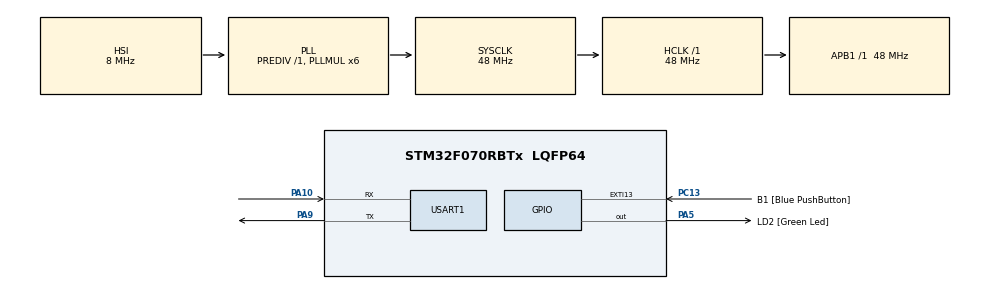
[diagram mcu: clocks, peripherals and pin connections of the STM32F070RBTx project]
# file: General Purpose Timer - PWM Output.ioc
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Mcu.Family=STM32F0
Mcu.Name=STM32F070RBTx
Mcu.Package=LQFP64
PA10.Mode=Asynchronous
PA10.Signal=USART1_RX
PA13.GPIO_Label=TMS
PA13.Signal=SYS_SWDIO
PA2.GPIO_Label=USART_TX
PA2.Signal=USART2_TX
PA3.GPIO_Label=USART_RX
PA3.Signal=USART2_RX
PA5.GPIO_Label=LD2 [Green Led]
PA5.Signal=GPIO_Output
PA9.Mode=Asynchronous
PA9.Signal=USART1_TX
PC13.GPIO_Label=B1 [Blue PushButton]
PC13.GPIO_ModeDefaultEXTI=GPIO_MODE_IT_FALLING
PC13.Signal=GPXTI13
PC14-OSC32_IN.GPIO_Label=RCC_OSC32_IN
PC14-OSC32_IN.Signal=RCC_OSC32_IN
PC15-OSC32_OUT.GPIO_Label=RCC_OSC32_OUT
PC15-OSC32_OUT.Signal=RCC_OSC32_OUT
PF0-OSC_IN.GPIO_Label=RCC_OSC_IN
PF0-OSC_IN.Signal=RCC_OSC_IN
PF1-OSC_OUT.GPIO_Label=RCC_OSC_OUT
PF1-OSC_OUT.Signal=RCC_OSC_OUT
ProjectManager.HeapSize=0x200
ProjectManager.StackSize=0x400
ProjectManager.TargetToolchain=STM32CubeIDE
RCC.AHBFreq_Value=48000000
RCC.APB1Freq_Value=48000000
RCC.APB1TimFreq_Value=48000000
RCC.HCLKFreq_Value=48000000
RCC.PLLMUL=RCC_PLL_MUL6
RCC.SYSCLKFreq_VALUE=48000000
RCC.SYSCLKSource=RCC_SYSCLKSOURCE_PLLCLK
USART1.VirtualMode-Asynchronous=VM_ASYNC
board=NUCLEO-F070RB

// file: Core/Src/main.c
/* USER CODE BEGIN Header */
/**
  ******************************************************************************
  * @file           : main.c
  * @brief          : Main program body
  ******************************************************************************
  * @attention
  *
  * <h2><center>&copy; Copyright (c) 2020 STMicroelectronics.
  * All rights reserved.</center></h2>
  *
  * This software component is licensed by ST under BSD 3-Clause license,
  * the "License"; You may not use this file except in compliance with the
  * License. You may obtain a copy of the License at:
  *                        opensource.org/licenses/BSD-3-Clause
  *
  ******************************************************************************
  */
/* USER CODE END Header */
#include "main.h"

/* USER CODE BEGIN Includes */
#include "pwm_driver.h"
#include "uart_driver.h"
/* USER CODE END Includes */

/* USER CODE BEGIN PTD */
static void pwm_sweep(void);
/* USER CODE END PTD */

UART_HandleTypeDef huart1;

void SystemClock_Config(void);
static void MX_GPIO_Init(void);
static void MX_USART1_UART_Init(void);

int main(void)
{

  /* MCU Configuration--------------------------------------------------------*/

  /* Reset of all peripherals, Initializes the Flash interface and the Systick. */
  HAL_Init();

  /* Configure the system clock */
  SystemClock_Config();

  /* Initialize all configured peripherals */
  MX_GPIO_Init();
  MX_USART1_UART_Init();
  /* USER CODE BEGIN 2 */
  UART_Init();
  pwm_init();
  /* USER CODE END 2 */

  /* Infinite loop */
  /* USER CODE BEGIN WHILE */
  pwm_enable();
  while (1)
  {
    /* USER CODE END WHILE */

    /* USER CODE BEGIN 3 */
	  pwm_sweep();

  }
  /* USER CODE END 3 */
}

void SystemClock_Config(void)
{
  RCC_OscInitTypeDef RCC_OscInitStruct = {0};
  RCC_ClkInitTypeDef RCC_ClkInitStruct = {0};
  RCC_PeriphCLKInitTypeDef PeriphClkInit = {0};

  /** Initializes the RCC Oscillators according to the specified parameters
  * in the RCC_OscInitTypeDef structure.
  */
  RCC_OscInitStruct.OscillatorType = RCC_OSCILLATORTYPE_HSI;
  RCC_OscInitStruct.HSIState = RCC_HSI_ON;
  RCC_OscInitStruct.HSICalibrationValue = RCC_HSICALIBRATION_DEFAULT;
  RCC_OscInitStruct.PLL.PLLState = RCC_PLL_ON;
  RCC_OscInitStruct.PLL.PLLSource = RCC_PLLSOURCE_HSI;
  RCC_OscInitStruct.PLL.PLLMUL = RCC_PLL_MUL6;
  RCC_OscInitStruct.PLL.PREDIV = RCC_PREDIV_DIV1;
  if (HAL_RCC_OscConfig(&RCC_OscInitStruct) != HAL_OK)
  {
    Error_Handler();
  }

  /** Initializes the CPU, AHB and APB buses clocks
  */
  RCC_ClkInitStruct.ClockType = RCC_CLOCKTYPE_HCLK|RCC_CLOCKTYPE_SYSCLK
                              |RCC_CLOCKTYPE_PCLK1;
  RCC_ClkInitStruct.SYSCLKSource = RCC_SYSCLKSOURCE_PLLCLK;
  RCC_ClkInitStruct.AHBCLKDivider = RCC_SYSCLK_DIV1;
  RCC_ClkInitStruct.APB1CLKDivider = RCC_HCLK_DIV1;

  if (HAL_RCC_ClockConfig(&RCC_ClkInitStruct, FLASH_LATENCY_1) != HAL_OK)
  {
    Error_Handler();
  }
  PeriphClkInit.PeriphClockSelection = RCC_PERIPHCLK_USART1;
  PeriphClkInit.Usart1ClockSelection = RCC_USART1CLKSOURCE_PCLK1;
  if (HAL_RCCEx_PeriphCLKConfig(&PeriphClkInit) != HAL_OK)
  {
    Error_Handler();
  }
}

static void MX_USART1_UART_Init(void)
{

  huart1.Instance = USART1;
  huart1.Init.BaudRate = 38400;
  huart1.Init.WordLength = UART_WORDLENGTH_8B;
  huart1.Init.StopBits = UART_STOPBITS_1;
  huart1.Init.Parity = UART_PARITY_NONE;
  huart1.Init.Mode = UART_MODE_TX_RX;
  huart1.Init.HwFlowCtl = UART_HWCONTROL_NONE;
  huart1.Init.OverSampling = UART_OVERSAMPLING_16;
  huart1.Init.OneBitSampling = UART_ONE_BIT_SAMPLE_DISABLE;
  huart1.AdvancedInit.AdvFeatureInit = UART_ADVFEATURE_NO_INIT;
  if (HAL_UART_Init(&huart1) != HAL_OK)
  {
    Error_Handler();
  }

}

static void MX_GPIO_Init(void)
{
  GPIO_InitTypeDef GPIO_InitStruct = {0};

  /* GPIO Ports Clock Enable */
  __HAL_RCC_GPIOC_CLK_ENABLE();
  __HAL_RCC_GPIOF_CLK_ENABLE();
  __HAL_RCC_GPIOA_CLK_ENABLE();

  /*Configure GPIO pin Output Level */
  HAL_GPIO_WritePin(LD2_GPIO_Port, LD2_Pin, GPIO_PIN_RESET);

  /*Configure GPIO pin : B1_Pin */
  GPIO_InitStruct.Pin = B1_Pin;
  GPIO_InitStruct.Mode = GPIO_MODE_IT_FALLING;
  GPIO_InitStruct.Pull = GPIO_NOPULL;
  HAL_GPIO_Init(B1_GPIO_Port, &GPIO_InitStruct);

  /*Configure GPIO pins : USART_TX_Pin USART_RX_Pin */
  GPIO_InitStruct.Pin = USART_TX_Pin|USART_RX_Pin;
  GPIO_InitStruct.Mode = GPIO_MODE_AF_PP;
  GPIO_InitStruct.Pull = GPIO_NOPULL;
  GPIO_InitStruct.Speed = GPIO_SPEED_FREQ_HIGH;
  GPIO_InitStruct.Alternate = GPIO_AF1_USART2;
  HAL_GPIO_Init(GPIOA, &GPIO_InitStruct);

  /*Configure GPIO pin : LD2_Pin */
  GPIO_InitStruct.Pin = LD2_Pin;
  GPIO_InitStruct.Mode = GPIO_MODE_OUTPUT_PP;
  GPIO_InitStruct.Pull = GPIO_NOPULL;
  GPIO_InitStruct.Speed = GPIO_SPEED_FREQ_LOW;
  HAL_GPIO_Init(LD2_GPIO_Port, &GPIO_InitStruct);

}

/* USER CODE BEGIN 4 */
static void pwm_sweep(void)
{
	int32_t sweep = 0 ;
	for(sweep = 0; sweep < 100; sweep++)
	{
		pwm_set_duty_cycle(sweep,CHANNEL1);
		pwm_set_duty_cycle(100 - sweep,CHANNEL2);
		pwm_set_duty_cycle(sweep,CHANNEL3);
		pwm_set_duty_cycle(100 - sweep,CHANNEL4);

		HAL_Delay(5);
	}

	for(sweep = 100; sweep > 0; sweep--)
	{
		pwm_set_duty_cycle(sweep, CHANNEL1);
		pwm_set_duty_cycle(100 - sweep, CHANNEL2);
		pwm_set_duty_cycle(sweep, CHANNEL3);
		pwm_set_duty_cycle(100 - sweep,CHANNEL4);
		HAL_Delay(5);
	}

}
/* USER CODE END 4 */

void Error_Handler(void)
{
  __disable_irq();
  while (1)
  {
  }
}
